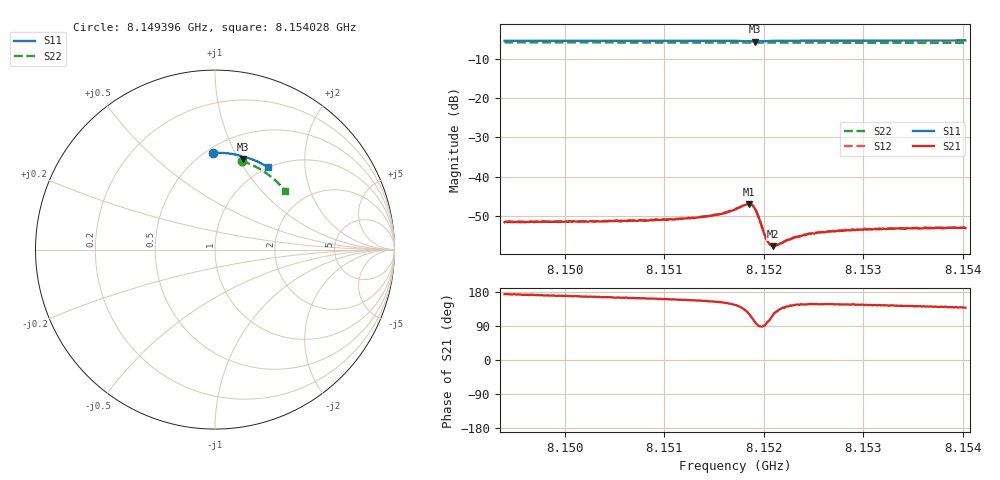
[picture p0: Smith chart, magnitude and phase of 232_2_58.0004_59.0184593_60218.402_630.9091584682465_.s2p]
#  HZ  S  RI  R  50.00
! Rohde & Schwarz Vector Network Analyzer
! Rohde-Schwarz,ZNB20-2Port,1311601062101988,3.16
! Created: UTC 3/21/2024, 1:00:42 AM
! freq[Hz]  re:S11  im:S11  re:S21  im:S21  re:S12  im:S12  re:S22  im:S22
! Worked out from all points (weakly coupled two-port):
!   401 points, 8.149396 GHz to 8.154028 GHz, reference 50 ohm
!   highest |S21| = -47.00 dB at 8.151851 GHz (marker M1); lowest = -57.8 dB at 8.152094 GHz (marker M2)
!   lowest |S11| = -5.5 dB at 8.151909 GHz (marker M3), VSWR 3.24, Z = 37.3 + j52.2 ohm
!   |S11| at or under -10 dB: nowhere
!   |S22| runs from -5.9 to -5.7 dB; largest |S21 - S12| = 0.00012
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8.1493956e9  -0.0122 0.5389  -0.0026 0.000286  -0.00262 0.000341  0.1483 0.4938
8.1501715e9  0.0422 0.5386  -0.00261 0.000571  -0.00264 0.000597  0.1954 0.4765
8.1509474e9  0.0963 0.5328  -0.00263 0.000893  -0.00267 0.000937  0.2405 0.4544
8.1511559e9  0.1109 0.5302  -0.00271 0.00102  -0.0027 0.00108  0.2522 0.4476
8.1514338e9  0.1307 0.5258  -0.00283 0.00131  -0.00284 0.00137  0.2674 0.4384
8.151596e9  0.143 0.5221  -0.00299 0.00163  -0.00301 0.0017  0.2762 0.4326
8.1517118e9  0.1521 0.5179  -0.00313 0.00216  -0.00312 0.00223  0.2823 0.4284
8.151816e9  0.1589 0.5107  -0.00287 0.00328  -0.00286 0.00334  0.2878 0.4241
8.1518508e9  0.1593 0.5072  -0.00239 0.00377  -0.00233 0.00388  0.2895 0.4229
8.1518855e9  0.1576 0.5045  -0.00149 0.00404  -0.00145 0.00407  0.2911 0.4216
8.1519087e9  0.1558 0.5043  -0.000781 0.00387  -0.000762 0.0039  0.2922 0.4208
8.1519434e9  0.154 0.5063  -7.82e-05 0.00317  -3.99e-05 0.0032  0.2938 0.4197
8.1520245e9  0.1584 0.5122  -0.000151 0.0016  -0.000117 0.00164  0.2981 0.4168
8.1520592e9  0.1613 0.5133  -0.000369 0.00133  -0.000397 0.00134  0.3 0.4155
8.152094e9  0.1646 0.5138  -0.000621 0.00114  -0.000633 0.00115  0.3017 0.4141
8.1521519e9  0.1696 0.5135  -0.000919 0.000994  -0.00092 0.00106  0.3047 0.412
8.152314e9  0.1826 0.5109  -0.00138 0.00096  -0.00135 0.000991  0.3129 0.4055
8.1524877e9  0.195 0.5071  -0.00159 0.00102  -0.00156 0.00106  0.3216 0.3984
8.1526614e9  0.2069 0.5028  -0.00168 0.00107  -0.00169 0.00111  0.33 0.3912
8.1528815e9  0.2215 0.4971  -0.00173 0.00113  -0.00175 0.0012  0.3405 0.3817
8.1532636e9  0.2459 0.4862  -0.00172 0.0013  -0.00175 0.00131  0.358 0.3649
8.154028e9  0.2926 0.461  -0.00164 0.00147  -0.00166 0.00148  0.3901 0.3284
